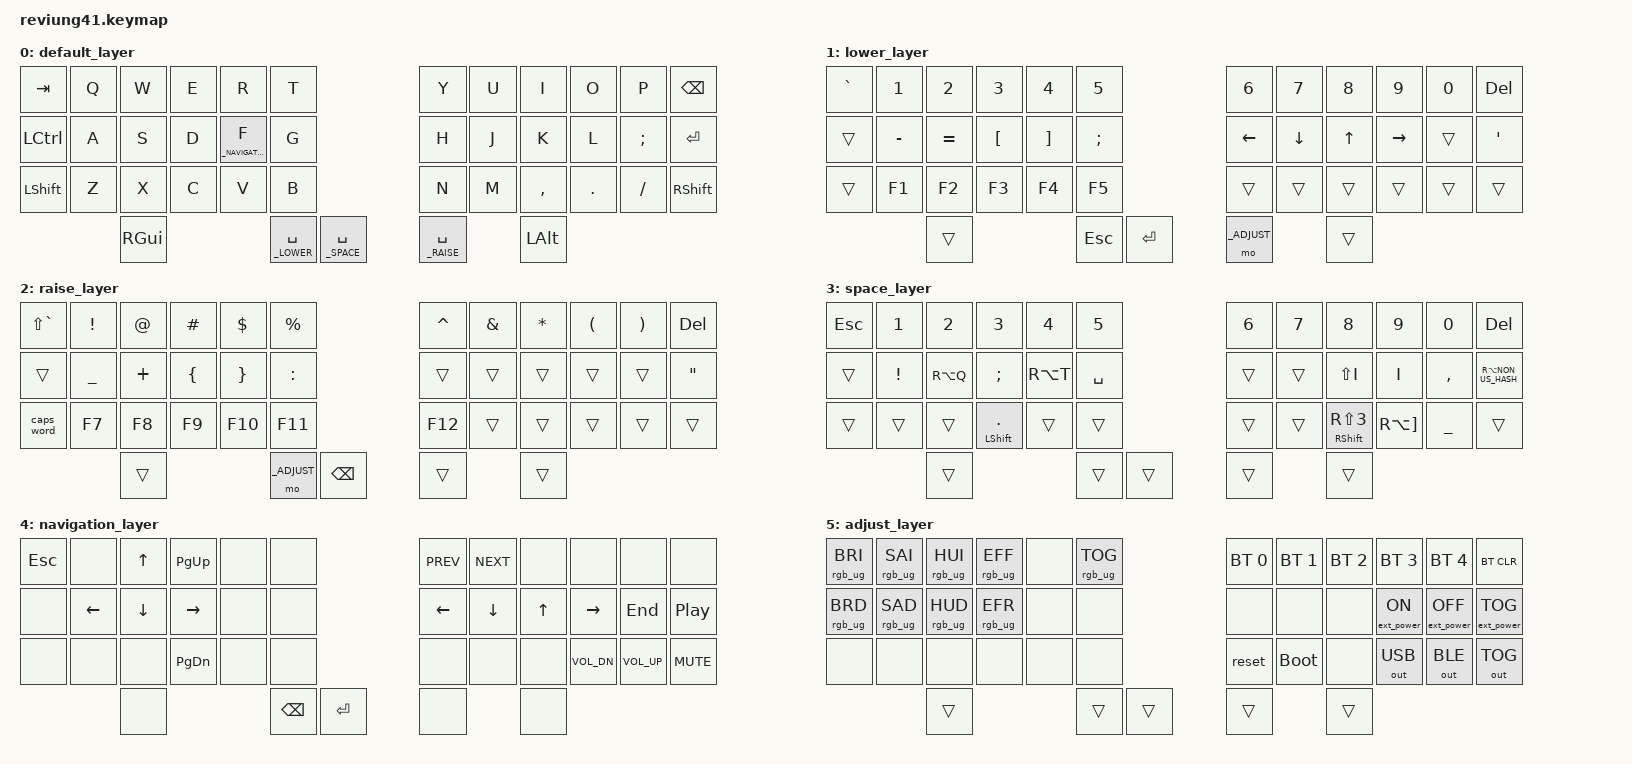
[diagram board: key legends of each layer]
// !!!!!!   Turkish Q Layout  !!!!!!

#include <behaviors.dtsi>
#include <dt-bindings/zmk/keys.h>
#include <dt-bindings/zmk/bt.h>
#include <dt-bindings/zmk/rgb.h>
#include <dt-bindings/zmk/outputs.h>
#include <dt-bindings/zmk/ext_power.h>
#include <dt-bindings/led/led.h>


// Layers
#define _QWERTY      0
#define _LOWER       1
#define _RAISE       2
#define _SPACE       3
#define _NAVIGATION  4
#define _ADJUST      5



&spi1 {
	compatible = "nordic,nrf-spim";
	status = "okay";
	mosi-pin = <6>;
	// Unused pins, needed for SPI definition, but not used by the ws2812 driver itself.
	sck-pin = <5>;
	miso-pin = <7>;

	led_strip: ws2812@0 {
		compatible = "worldsemi,ws2812-spi";
		label = "WS2812";

		/* SPI */
		reg = <0>; /* ignored, but necessary for SPI bindings */
		spi-max-frequency = <4000000>;

		/* WS2812 */
		chain-length = <11>; /* arbitrary; change at will */
		spi-one-frame = <0x70>;
		spi-zero-frame = <0x40>;
		color-mapping = <LED_COLOR_ID_GREEN LED_COLOR_ID_RED LED_COLOR_ID_BLUE>;
	};
};

/ {
chosen {
zmk,underglow = &led_strip;
};
};

// &caps_word {
//     continue-list = <UNDERSCORE MINUS>;
// };

/ {
keymap {
compatible = "zmk,keymap";

    // QWERTY LAYER (DEFAUT)
//       │  TAB │  Q   │  W   │  E   │  R   │  T   │            │  Y   │  U   │  I   │  O   │   P  │ BSPC │
//       ├──────┼──────┼──────┼──────┼──────┼──────┤            ├──────┼──────┼──────┼──────┼──────┼──────┤
//       │ CTRL │  A   │  S   │  D   │F(NAV)│  G   │            │  H   │  J   │  K   │  L   │  ;   │ ENT  │
//       ├──────┼──────┼──────┼──────┼──────┼──────┤            ├──────┼──────┼──────┼──────┼──────┼──────┤
//       │SFT_CL│  Z   │  X   │  C   │  V   │  B   │            │  N   │  M   │  ,   │  .   │  /   │ SHFT │
    //                             | WIN  | Lower_up |  Space_spc  | Raise_down | ALT  |
    //                                +-------------/             \--------------+
default_layer {
bindings = <
&kp TAB   &kp Q &kp W &kp E &kp R               &kp T                        &kp Y &kp U  &kp I     &kp O   &kp P    &kp BSPC
&kp LCTRL &kp A &kp S &kp D &lt _NAVIGATION F   &kp G                        &kp H &kp J  &kp K     &kp L   &kp SEMI &kp RET
&kp LSHFT &kp Z &kp X &kp C &kp V               &kp B                        &kp N &kp M  &kp COMMA &kp DOT &kp FSLH &kp RSHFT
                &kp RIGHT_GUI           &lt _LOWER SPACE &lt _SPACE SPACE  &lt _RAISE SPACE   &kp LALT
                >;
        };
    // LOWER LAYER
    // ,---------------------------------------------------+         +------------------------------------------.
    // |   `   |   1   |   2   |    3    |   4   |   5     |         |  6   |  7   |  8   |  9   |  0   |  DEL  |
    // |-------+-------+-------+---------+-------+---------+         +------+------+------+------+------+-------|
    // |       |   -   |   =   |    [    |   ]   |    ;    |         | LEFT | DOWN | UP   | RGHT |      |   '   |
    // |-------+-------+-------+---------+-------+---------+         +------+------+------+------+------+-------|
    // |       |  F1  |   F2   |    F3   |   F4  |  F5     |         |  F6  |      |      |      |      |       |
    // |-------+-------+-------+---------+-------+---------+         +------+------+------+------+------+-------|
    //                                   | ESC | ____ |      ENTER     | ____  | ____ |
    //                                   +-------------/                \--------------+
lower_layer {
bindings = <
&kp GRAVE  &kp N1     &kp N2     &kp N3    &kp N4    &kp N5              &kp N6      &kp N7     &kp N8     &kp N9     &kp N0   &kp DEL
&trans     &kp MINUS  &kp EQUAL  &kp LBKT  &kp RBKT  &kp SEMI            &kp LEFT    &kp DOWN   &kp UP     &kp RIGHT  &trans   &kp SQT
&trans     &kp F1     &kp F2  &kp F3  &kp F4  &kp F5                     &trans      &trans     &trans     &trans     &trans   &trans
                        &trans      &kp ESC       &kp RET       &mo _ADJUST       &trans
                >;
        };

    // RAISE LAYER
    // ,-----------------------------------------------+         +------------------------------------------.
    // |  ~    |  !   |   @   |    #   |   $   |   %   |         |  ^   |   &  |   *  |   (  |   )  |  DEL  |
    // |-------+------+-------+--------+-------+-------+         +------+------+------+------+------+-------|
    // |       |  _   |   +   |    {   |   }   |   :   |         |      |      |      |      |      |   "   |
    // |-------+------+-------+--------+-------+-------+         +------+------+------+------+------+-------|
    // |cps_wrd|  F7  |   F8   |  F9  |  F10   |  F11 |          | F12  |      |      |      |      |       |
    // |-------+------+-------+--------+-------+-------+         +------+------+------+------+------+-------|
    //                                | ____ | ____ |     BSPC     | ____  | ____ |
    //                                +-------------/              \--------------+
raise_layer {
bindings = <
&kp LS(GRAVE)  &kp EXCL   &kp AT    &kp HASH   &kp DLLR  &kp PRCNT         &kp CARET &kp AMPS  &kp STAR    &kp LPAR  &kp RPAR  &kp DEL
&trans         &kp UNDER  &kp PLUS  &kp LBRC   &kp RBRC  &kp COLON         &trans   &trans    &trans   &trans    &trans  &kp DQT
&caps_word     &kp F7   &kp F8  &kp F9   &kp F10   &kp F11                 &kp F12   &trans   &trans  &trans  &trans   &trans
                                &trans      &mo _ADJUST       &kp BSPC        &trans      &trans
                >;
        };

    // SPACE LAYER
    // ,-------------------------------------------------- -+         +------------------------------------------.
    // |   ESC  |        |       |   €     |    £  |   Ğ    |         |      |      |   Ü  |      |  :   |  DEL  |
    // |--------+--------+-------+---------+-------+--------+         +------+------+------+------+------+-------|
    // |        |    !   |   @   |    Ş    |   ₺   | SPACE  |         |      |      | S(ı) |   I  |  Ö   |   `   |
    // |--------+--------+-------+---------+-------+--------+         +------+------+------+------+------+-------|
    // |        |        |       |    Ç    |       |        |         |      |      |   ^  |   ~  |  ?   |       |
    // |--------+--------+-------+---------+-------+--------+         +------+------+------+------+------+-------|
    //                                     | ____ | ____ |     _______      | ____  | ____ |
    //                                     +-------------/                \--------------+

space_layer {
bindings = <
&kp ESC  &kp N1    &kp N2  &kp N3  &kp N4  &kp N5                &kp N6  &kp N7    &kp N8   &kp N9   &kp N0   &kp DEL
&trans   &kp EXCL  &kp RA(Q)     &kp SEMI           &kp  RA(T)   &kp SPACE           &trans   &trans   &kp LS(I)          &kp I          &kp COMMA       &kp RA(NON_US_HASH)
&trans   &trans    &trans        &mt LSHFT  DOT     &trans       &trans              &trans   &trans   &mt RSHFT RS(N3)   &kp RA(RBKT)   &kp UNDER       &trans
                                                        &trans  &trans    &trans    &trans     &trans
                >;
        };

    // NAVIGATION LAYER
    // ,---------------------------------------------------+         +------------------------------------------.
    // |       |       |   UP  |  PGUP   |       |         |         |C_PREV|C_NEXT|      |      |      |       |
    // |-------+-------+-------+---------+-------+---------+         +------+------+------+------+------+-------|
    // |       |  LEFT | DOWN  |  RGHT   |       |         |         | LEFT | DOWN | UP   | RGHT | END  |PLAY(P)|
    // |-------+-------+-------+---------+-------+---------+         +------+------+------+------+------+-------|
    // |       |       |       | PGDOWN  |       |         |         |      |      |      |VLDOWN| VLUP | MUTE  |
    // |-------+-------+-------+---------+-------+---------+         +------+------+------+------+------+-------|
    //                                    | ____ | BSPC |     ENTER    | ____  | ____ |
    //                                    +-------------/                \--------------+

navigation_layer {
bindings = <
&kp ESC  &none    &kp UP    &kp PG_UP  &none  &none              &kp C_PREV  &kp C_NEXT   &none      &none          &none            &none
&none   &kp LEFT  &kp DOWN  &kp RIGHT  &none  &none              &kp LEFT    &kp DOWN     &kp UP     &kp RIGHT      &kp END          &kp C_PLAY_PAUSE
&none   &none     &none     &kp PG_DN  &none  &none              &none       &none         &none      &kp C_VOL_DN   &kp C_VOL_UP     &kp C_MUTE
                                &none &kp BSPC  &kp RET    &none      &none
                >;
        };

    // ADJUST LAYER
    // ,-------------------------------------------------------- -+         +-----------------------------------------.
    // | RGB BRI+ | RGB SAT+ | RGB HUE+ | RGB ANI+ |    | RGB TOG |         |  BT1  | BT2 | BT3 | BT4 | BT5  | BT CLR |
    // |----------+----------+----------+----------+----+---------+         +--- ---+-----+-----+-----+------+-- -----|
    // | RGB BRI- | RGB SAT- | RGB HUE- | RGB ANI- |    |         |         |       |     |     |EP_ON|EP_OFF| EP_TOG |
    // |----------+----------+----------+----------+----+---------+         +-------+-----+-----+-----+------+--------|
    // |          |          |          |          |    |         |         | RESET |BOOTL|     |O_USB|O_BLE |OUT_TOG |
    // |----------+----------+---------+-----------+----+---------+         +-------+-----+-----+-----+------+--------|
    //                                          | ____ | ____ |     _______      | ____  | ____ |
    //                                           +-------------/                \--------------+

adjust_layer {
bindings = <
&rgb_ug RGB_BRI &rgb_ug RGB_SAI &rgb_ug RGB_HUI &rgb_ug RGB_EFF &none &rgb_ug RGB_TOG              &bt BT_SEL 0 &bt BT_SEL 1  &bt BT_SEL 2 &bt BT_SEL 3       &bt BT_SEL 4        &bt BT_CLR
&rgb_ug RGB_BRD &rgb_ug RGB_SAD &rgb_ug RGB_HUD &rgb_ug RGB_EFR &none &none                        &none        &none         &none        &ext_power EP_ON   &ext_power EP_OFF   &ext_power EP_TOG
&none           &none           &none           &none           &none &none                        &reset       &bootloader   &none        &out OUT_USB       &out OUT_BLE        &out OUT_TOG
                                                                &trans      &trans       &trans        &trans      &trans
                >;
        };
        };
};

